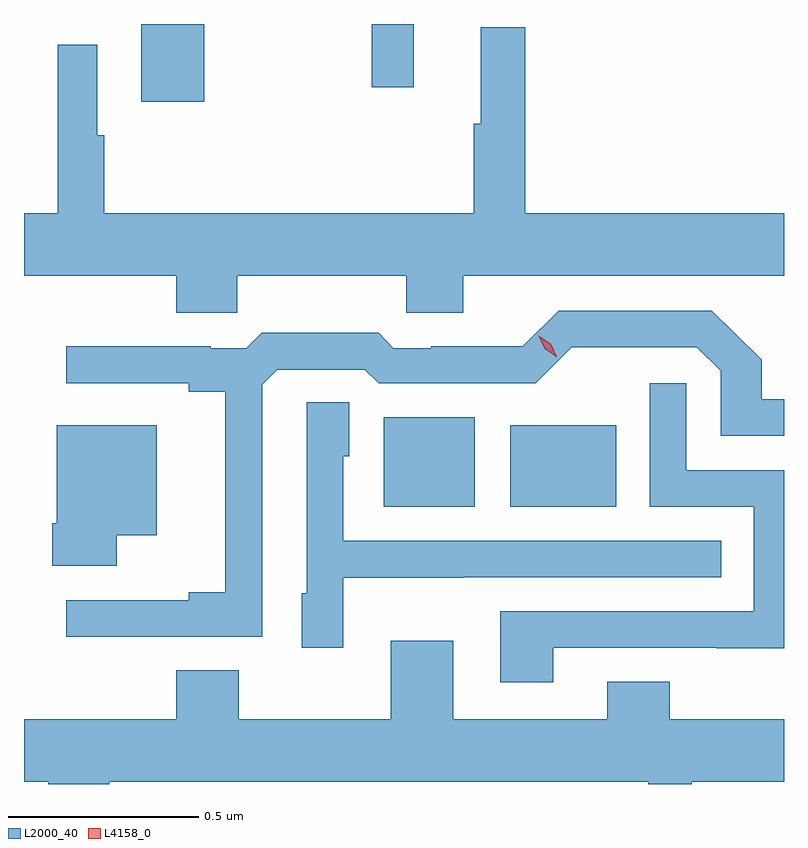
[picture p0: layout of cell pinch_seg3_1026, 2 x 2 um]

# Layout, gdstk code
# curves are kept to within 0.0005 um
import gdstk
lib = gdstk.Library(unit=1e-6, precision=1e-09)
def R(c, l, rs):  # rectangles x0, y0, x1, y1
    for r in rs: c.add(gdstk.rectangle(r[:2], r[2:], *l))
def P(c, l, *ps):  # polygons
    for p in ps: c.add(gdstk.Polygon(p, *l))
L2000_40 = (2000, 40)
L4158_0 = (4158, 0)

pinch_seg3_1026 = lib.new_cell('pinch_seg3_1026')
R(pinch_seg3_1026, L2000_40, [(403.079,668.339,403.318,668.575), (403.412,668.339,403.69,668.554), (402.44,669.405,402.606,669.61), (403.047,669.444,403.157,669.61)])
P(pinch_seg3_1026, L2000_40, [(402.693,668.948),(403.138,668.948),(403.138,668.85),(403.288,668.85),(403.288,668.948),(404.132,668.948),(404.132,669.112),(403.451,669.112),(403.451,669.601),(403.334,669.601),(403.334,669.348),(403.315,669.348),(403.315,669.112),(402.343,669.112),(402.343,669.317),(402.325,669.317),(402.325,669.556),(402.221,669.556),(402.221,669.112),(402.132,669.112),(402.132,668.948),(402.533,668.948),(402.533,668.85),(402.693,668.85)],
  [(402.759,668.661),(402.798,668.7),(403.029,668.7),(403.065,668.664),(403.479,668.664),(403.574,668.759),(403.678,668.759),(403.678,668.76),(403.902,668.76),(403.965,668.697),(403.965,668.526),(404.132,668.526),(404.132,668.623),(404.073,668.623),(404.073,668.726),(403.942,668.856),(403.539,668.856),(403.445,668.762),(403.204,668.762),(403.204,668.757),(403.104,668.757),(403.065,668.797),(402.757,668.797),(402.717,668.757),(402.623,668.757),(402.623,668.762),(402.243,668.762),(402.243,668.664),(402.566,668.664),(402.566,668.642),(402.662,668.642),(402.662,668.114),(402.566,668.114),(402.566,668.094),(402.243,668.094),(402.243,667.998),(402.759,667.998)],
  [(403.525,667.968),(403.955,667.968),(403.955,667.967),(404.132,667.967),(404.132,668.436),(403.875,668.436),(403.875,668.665),(403.779,668.665),(403.779,668.34),(404.052,668.34),(404.052,668.064),(403.385,668.064),(403.385,667.878),(403.525,667.878)],
  [(402.972,668.153),(403.289,668.153),(403.289,668.154),(403.967,668.154),(403.967,668.25),(402.972,668.25),(402.972,668.472),(402.988,668.472),(402.988,668.615),(402.876,668.615),(402.876,668.112),(402.863,668.112),(402.863,667.968),(402.972,667.968)],
  [(402.376,668.264),(402.481,668.264),(402.481,668.554),(402.218,668.554),(402.218,668.296),(402.206,668.296),(402.206,668.184),(402.376,668.184)],
  [(402.356,667.616),(403.775,667.616),(403.775,667.61),(403.889,667.61),(403.889,667.616),(404.132,667.616),(404.132,667.78),(403.831,667.78),(403.831,667.879),(403.667,667.879),(403.667,667.78),(403.261,667.78),(403.261,667.987),(403.097,667.987),(403.097,667.78),(402.697,667.78),(402.697,667.909),(402.533,667.909),(402.533,667.78),(402.132,667.78),(402.132,667.616),(402.196,667.616),(402.196,667.61),(402.356,667.61)])
P(pinch_seg3_1026, L4158_0, [(403.533,668.735),(403.503,668.756),(403.487,668.79),(403.487,668.79),(403.487,668.79),(403.518,668.769),(403.534,668.735),(403.534,668.735)])

lib.write_gds('pinch_seg3_1026.gds')
